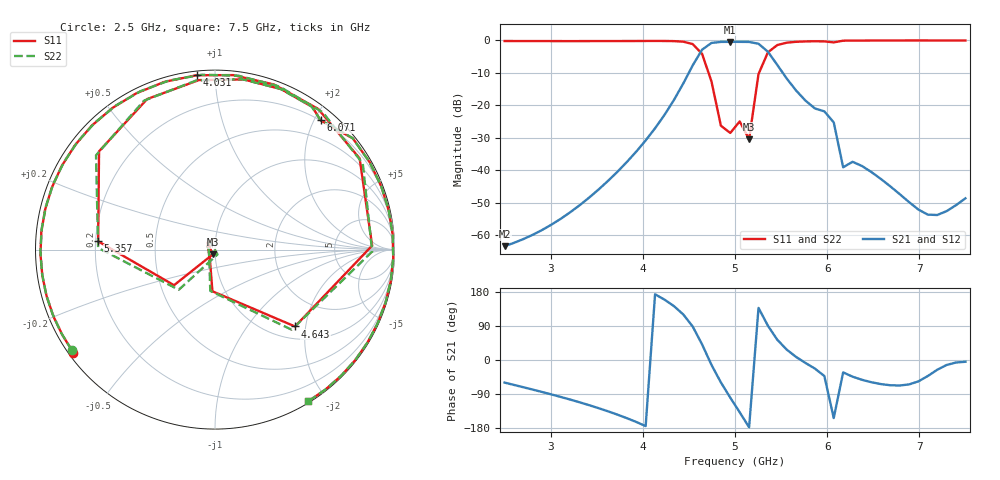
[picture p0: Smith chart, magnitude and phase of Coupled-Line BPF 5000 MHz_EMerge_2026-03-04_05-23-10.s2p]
! Generated by EMerge - 2-port S-parameters
! File generated: 2026-03-04 05:23
! --- Coupled-Line BPF 5000 MHz ---
! Substrate: RO4003C
! h = 0.508 mm
! W50 = 1.1 mm, Lfeed = 5 mm
! L1 = 8.93 mm, S1 = 0.1 mm, W1 = 0.76 mm
! L2 = 8.93 mm, S2 = 0.1 mm, W2 = 1.08 mm
! Run time = 1.03 min
# GHZ S RI R 50
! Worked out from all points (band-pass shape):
!   50 points, 2.5 GHz to 7.5 GHz, reference 50 ohm
!   highest |S21| = -0.47 dB at 4.949 GHz (marker M1); lowest = -63.4 dB at 2.5 GHz (marker M2)
!   |S21| within 3 dB of the highest: 4.631 GHz to 5.355 GHz (724.6 MHz wide, 14.5 % of centre)
!   lowest |S11| = -30.4 dB at 5.153 GHz (marker M3), VSWR 1.06, Z = 48.7 - j2.65 ohm
!   |S11| at or under -10 dB: 4.713 GHz to 5.261 GHz (548.1 MHz wide, 11 % of centre)
!   |S22| runs from -30.4 to 0.0 dB; largest |S21 - S12| = 0.00057
!   S11 on the Smith chart (normalised r, x): 2.5 GHz: 0.01, -0.33; 4.031 GHz: 0.02, +0.90; 4.643 GHz: 1.26, -1.75; 5.357 GHz: 0.21, +0.03; 6.071 GHz: 0.20, +2.09; 7.5 GHz: 0.02, -1.79
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2.5  -0.7888 -0.5735  0.000343 -0.000586  0.000344 -0.000583  -0.7977 -0.5608
3.010204  -0.9723 -0.0266  -2.49e-05 -0.00146  -2.2e-05 -0.00146  -0.9726 -0.00666
3.418367  -0.8534 0.4667  -0.00186 -0.00332  -0.00185 -0.00332  -0.842 0.4871
4.030612  -0.102 0.9716  -0.0287 -0.0028  -0.0287 -0.00281  -0.0732 0.9744
4.234694  0.3291 0.9197  -0.0665 0.0251  -0.0665 0.025  0.3583 0.909
4.438776  0.8057 0.5084  -0.109 0.1872  -0.109 0.1871  0.8233 0.4798
4.540816  0.8755 0.0223  0.0115 0.4108  0.0115 0.4106  0.8757 -0.0107
4.642857  0.4458 -0.4283  0.5402 0.4726  0.54 0.4724  0.4272 -0.4462
4.744898  -0.0143 -0.2322  0.888 -0.2049  0.8877 -0.2048  -0.0263 -0.2303
4.846939  -0.0298 -0.0382  0.4841 -0.8115  0.484 -0.8112  -0.0327 -0.0337
4.94898  -0.0375 0.000876  -0.1566 -0.9347  -0.1566 -0.9344  -0.0359 0.00837
5.05102  -0.0406 0.0392  -0.7027 -0.6341  -0.7026 -0.6339  -0.0285 0.0493
5.153061  -0.0128 -0.0272  -0.9435 -0.04  -0.9433 -0.0399  0.0141 -0.0269
5.255102  -0.2284 -0.1984  -0.6523 0.5986  -0.6522 0.5984  -0.2019 -0.2239
5.357143  -0.651 0.0459  -0.0053 0.6671  -0.00531 0.6669  -0.6513 0.0096
5.561224  -0.378 0.8387  0.2293 0.1186  0.2293 0.1186  -0.3955 0.8299
5.867347  0.3701 0.8936  0.0824 -0.0346  0.0823 -0.0345  0.3625 0.8965
6.071429  0.5882 0.7201  -0.0487 -0.0246  -0.0483 -0.0242  0.5868 0.7233
6.173469  0.7686 0.619  0.00936 -0.006  0.0095 -0.00603  0.7665 0.6216
6.683673  0.9931 -0.0475  0.00225 -0.00521  0.00228 -0.00523  0.9931 -0.0454
7.091837  0.8492 -0.5186  0.00154 -0.0014  0.00155 -0.00142  0.85 -0.5172
7.5  0.5196 -0.8453  0.00369 -0.000301  0.0037 -0.000357  0.5204 -0.8448
